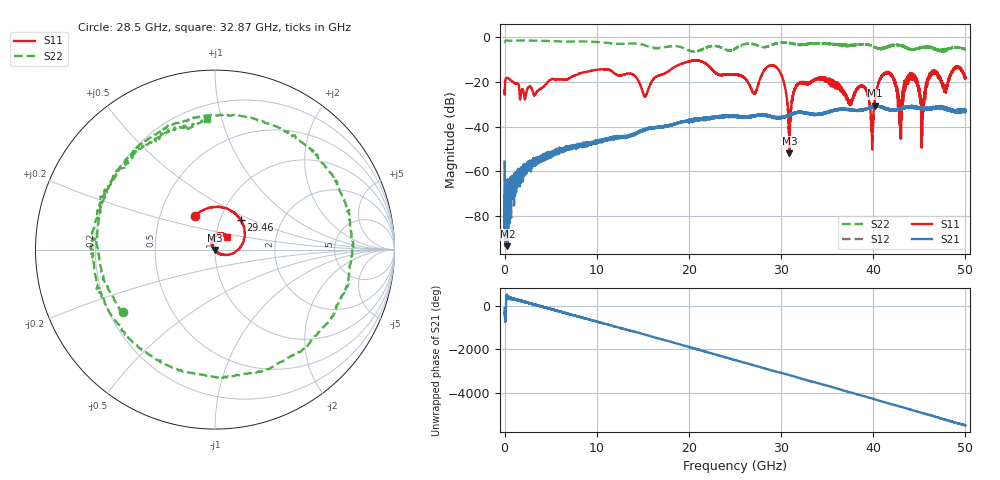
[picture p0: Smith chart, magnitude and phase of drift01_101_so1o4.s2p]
!Created with skrf (http://scikit-rf.org).
# Hz S RI R 50.0
!freq ReS11 ImS11 ReS21 ImS21 ReS12 ImS12 ReS22 ImS22
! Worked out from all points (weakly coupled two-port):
!   10001 points, 300 kHz to 50 GHz, reference 50 ohm
!   highest |S21| = -30.58 dB at 40.21 GHz (marker M1); lowest = -93.6 dB at 300.3 MHz (marker M2)
!   lowest |S11| = -51.9 dB at 30.91 GHz (marker M3), VSWR 1.01, Z = 49.9 - j0.216 ohm
!   |S11| at or under -10 dB: start of sweep to end of sweep
!   |S22| runs from -6.5 to -1.4 dB; largest |S21 - S12| = 0.0038
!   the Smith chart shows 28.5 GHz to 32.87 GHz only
!   S11 on the Smith chart (normalised r, x): 28.5 GHz: 0.75, +0.29; 29.46 GHz: 1.26, +0.43; 32.87 GHz: 1.13, +0.16
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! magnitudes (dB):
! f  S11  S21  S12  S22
! 300 kHz  -23.7  -56.1  -55.1  -2.1
! 300.3 MHz  -18.2  -93.6  -82.2  -1.4
! 2.865 GHz  -22.4  -57.2  -58.1  -1.4
! 8.335 GHz  -16.0  -48.0  -48.6  -1.8
! 15.24 GHz  -26.4  -41.2  -41.0  -3.6
! 16.67 GHz  -17.1  -40.1  -40.3  -4.8
! 25 GHz  -16.6  -35.4  -35.4  -5.1
! 27.11 GHz  -25.2  -35.0  -35.3  -3.1
! 28.5 GHz  -13.2  -35.0  -35.0  -4.1
! 29.46 GHz  -13.2  -36.0  -35.9  -2.7
! 30.91 GHz  -51.9  -34.8  -34.9  -2.5
! 32.87 GHz  -20.4  -34.3  -34.0  -2.8
! 33.34 GHz  -19.8  -34.3  -34.4  -2.7
! 38.92 GHz  -22.1  -32.5  -32.4  -3.0
! 39.86 GHz  -44.1  -31.4  -31.2  -3.7
! 40.21 GHz  -26.8  -30.6  -30.8  -4.4
! 41.67 GHz  -16.1  -32.2  -32.4  -4.3
! 42.92 GHz  -35.3  -32.1  -32.2  -3.6
! 44.09 GHz  -17.4  -31.3  -31.3  -5.3
! 45.31 GHz  -44.1  -31.9  -32.1  -4.4
! 46.42 GHz  -15.4  -31.8  -31.3  -4.7
! 50 GHz  -18.0  -33.6  -33.0  -5.4
